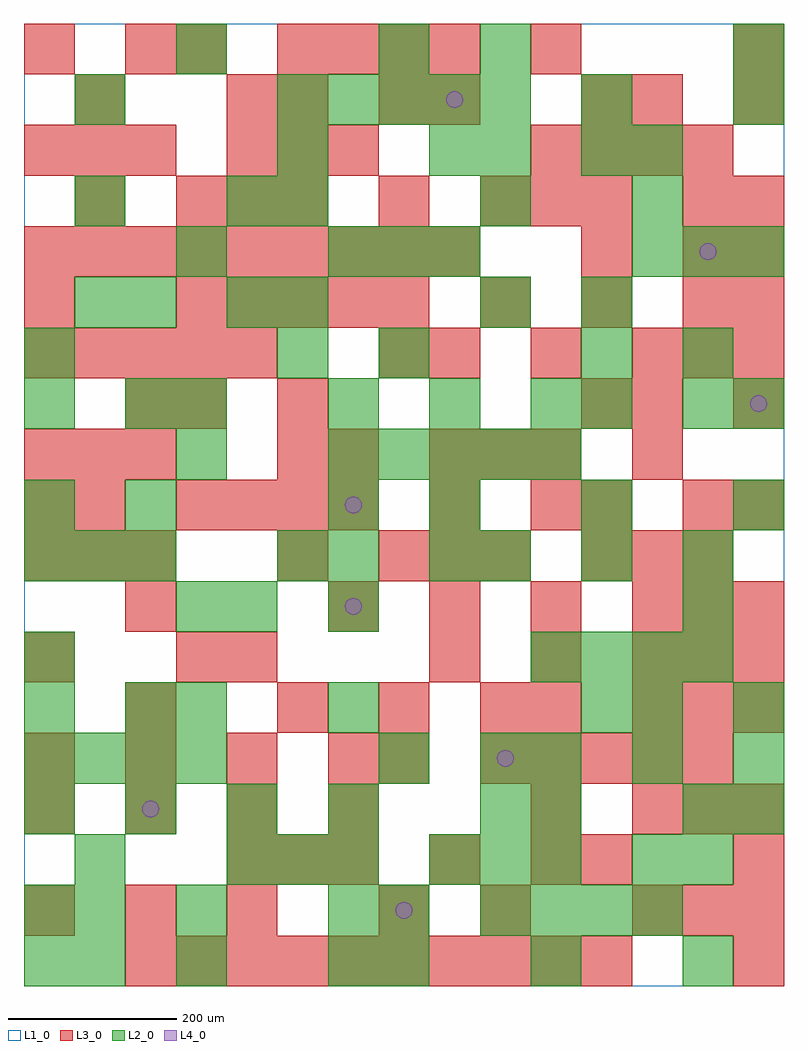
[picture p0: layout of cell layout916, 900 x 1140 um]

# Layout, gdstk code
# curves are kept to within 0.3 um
import gdstk
lib = gdstk.Library(unit=1e-6, precision=1e-09)
def R(c, l, rs):  # rectangles x0, y0, x1, y1
    for r in rs: c.add(gdstk.rectangle(r[:2], r[2:], *l))
def A(c, l, x, y, w, h, nx, ny, dx, dy):  # array of equal rectangles
    R(c, l, [(x+i*dx, y+j*dy, x+i*dx+w, y+j*dy+h) for i in range(nx) for j in range(ny)])
def P(c, l, *ps):  # polygons
    for p in ps: c.add(gdstk.Polygon(p, *l))
L1_0 = (1, 0)
L2_0 = (2, 0)
L3_0 = (3, 0)
L4_0 = (4, 0)

layout916 = lib.new_cell('layout916')
R(layout916, L1_0, [(0,0,900,1140)])
A(layout916, L2_0, 60, 0, 60, 60, 1, 3, 0, 60)
A(layout916, L2_0, 420, 0, 60, 60, 3, 1, 180, 0)
A(layout916, L2_0, 540, 60, 60, 60, 4, 1, 60, 0)
A(layout916, L2_0, 240, 120, 60, 60, 3, 1, 60, 0)
A(layout916, L2_0, 480, 120, 60, 60, 3, 1, 60, 0)
A(layout916, L2_0, 0, 180, 60, 60, 4, 1, 120, 0)
A(layout916, L2_0, 780, 180, 60, 60, 1, 3, 0, 240)
A(layout916, L2_0, 0, 240, 60, 60, 4, 1, 60, 0)
A(layout916, L2_0, 600, 240, 60, 60, 3, 1, 120, 0)
A(layout916, L2_0, 840, 300, 60, 60, 1, 3, 0, 360)
A(layout916, L2_0, 600, 360, 60, 60, 4, 1, 60, 0)
A(layout916, L2_0, 360, 420, 60, 60, 1, 3, 0, 60)
A(layout916, L2_0, 0, 480, 60, 60, 3, 1, 60, 0)
A(layout916, L2_0, 540, 480, 60, 60, 3, 1, 120, 0)
A(layout916, L2_0, 120, 540, 60, 60, 1, 3, 0, 120)
A(layout916, L2_0, 480, 540, 60, 60, 3, 1, 180, 0)
A(layout916, L2_0, 360, 600, 60, 60, 5, 1, 60, 0)
A(layout916, L2_0, 360, 660, 60, 60, 3, 1, 120, 0)
A(layout916, L2_0, 660, 660, 60, 60, 1, 3, 0, 60)
A(layout916, L2_0, 60, 780, 60, 60, 1, 3, 0, 120)
A(layout916, L2_0, 360, 840, 60, 60, 3, 1, 60, 0)
A(layout916, L2_0, 720, 840, 60, 60, 3, 1, 60, 0)
A(layout916, L2_0, 300, 1020, 60, 60, 5, 1, 60, 0)
R(layout916, L2_0, [(0,0,60,60), (180,0,240,60), (360,0,420,60), (0,60,60,120), (180,60,240,120), (360,60,420,120), (420,60,480,120), (720,120,780,180), (780,120,840,180), (540,180,600,240), (600,180,660,240), (840,180,900,240), (420,240,480,300), (540,240,600,300), (0,300,60,360), (120,300,180,360), (180,300,240,360), (360,300,420,360), (660,300,720,360), (720,300,780,360), (0,360,60,420), (180,420,240,480), (240,420,300,480), (300,480,360,540), (480,480,540,540), (0,540,60,600), (180,600,240,660), (0,660,60,720), (180,660,240,720), (0,720,60,780), (300,720,360,780), (420,720,480,780), (780,720,840,780), (240,780,300,840), (300,780,360,840), (540,780,600,840), (180,840,240,900), (240,900,300,960), (300,900,360,960), (540,900,600,960), (720,900,780,960), (300,960,360,1020), (480,960,540,1020), (540,960,600,1020), (660,960,720,1020), (720,960,780,1020), (660,1020,720,1080), (180,1080,240,1140), (420,1080,480,1140), (540,1080,600,1140), (840,1080,900,1140)])
A(layout916, L3_0, 120, 0, 60, 60, 10, 1, 60, 0)
A(layout916, L3_0, 0, 60, 60, 60, 3, 1, 120, 0)
A(layout916, L3_0, 720, 60, 60, 60, 3, 3, 60, 120)
A(layout916, L3_0, 240, 120, 60, 60, 3, 2, 60, 840)
A(layout916, L3_0, 0, 180, 60, 60, 4, 2, 120, 60)
A(layout916, L3_0, 540, 240, 60, 60, 5, 1, 60, 0)
A(layout916, L3_0, 300, 300, 60, 60, 3, 1, 120, 0)
A(layout916, L3_0, 480, 360, 60, 60, 3, 2, 120, 360)
A(layout916, L3_0, 360, 420, 60, 60, 4, 1, 120, 0)
A(layout916, L3_0, 840, 420, 60, 60, 1, 3, 0, 120)
A(layout916, L3_0, 0, 480, 60, 60, 3, 2, 60, 120)
A(layout916, L3_0, 420, 480, 60, 60, 3, 1, 60, 0)
A(layout916, L3_0, 660, 480, 60, 60, 3, 1, 60, 0)
A(layout916, L3_0, 180, 540, 60, 60, 4, 1, 60, 0)
A(layout916, L3_0, 480, 600, 60, 60, 3, 1, 60, 0)
A(layout916, L3_0, 660, 660, 60, 60, 1, 3, 0, 180)
A(layout916, L3_0, 0, 720, 60, 60, 5, 1, 60, 0)
A(layout916, L3_0, 840, 720, 60, 60, 1, 4, 0, 60)
A(layout916, L3_0, 180, 780, 60, 60, 5, 1, 60, 0)
A(layout916, L3_0, 540, 780, 60, 60, 3, 1, 120, 0)
A(layout916, L3_0, 0, 840, 60, 60, 9, 1, 60, 0)
A(layout916, L3_0, 180, 900, 60, 60, 3, 1, 60, 0)
A(layout916, L3_0, 540, 900, 60, 60, 3, 1, 60, 0)
A(layout916, L3_0, 0, 960, 60, 60, 3, 1, 60, 0)
A(layout916, L3_0, 600, 960, 60, 60, 4, 1, 60, 0)
A(layout916, L3_0, 300, 1080, 60, 60, 4, 1, 60, 0)
R(layout916, L3_0, [(840,0,900,60), (420,60,480,120), (540,60,600,120), (480,120,540,180), (600,120,660,180), (660,120,720,180), (840,120,900,180), (600,180,660,240), (420,240,480,300), (120,300,180,360), (600,300,660,360), (0,360,60,420), (180,360,240,420), (240,360,300,420), (780,360,840,420), (840,360,900,420), (120,420,180,480), (780,420,840,480), (300,480,360,540), (0,540,60,600), (60,540,120,600), (480,540,540,600), (600,540,660,600), (660,540,720,600), (780,540,840,600), (300,600,360,660), (360,600,420,660), (720,600,780,660), (120,660,180,720), (180,660,240,720), (300,660,360,720), (720,660,780,720), (420,720,480,780), (780,720,840,780), (0,780,60,840), (780,840,840,900), (60,900,120,960), (420,900,480,960), (780,900,840,960), (60,1020,120,1080), (240,1020,300,1080), (300,1020,360,1080), (420,1020,480,1080), (480,1020,540,1080), (720,1020,780,1080), (840,1020,900,1080), (0,1080,60,1140), (120,1080,180,1140), (180,1080,240,1140), (600,1080,660,1140), (840,1080,900,1140)])
P(layout916, L4_0, [(160,210),(159.239,213.827),(157.071,217.071),(153.827,219.239),(150,220),(146.173,219.239),(142.929,217.071),(140.761,213.827),(140,210),(140.761,206.173),(142.929,202.929),(146.173,200.761),(150,200),(153.827,200.761),(157.071,202.929),(159.239,206.173)],
  [(400,450),(399.239,453.827),(397.071,457.071),(393.827,459.239),(390,460),(386.173,459.239),(382.929,457.071),(380.761,453.827),(380,450),(380.761,446.173),(382.929,442.929),(386.173,440.761),(390,440),(393.827,440.761),(397.071,442.929),(399.239,446.173)],
  [(400,570),(399.239,573.827),(397.071,577.071),(393.827,579.239),(390,580),(386.173,579.239),(382.929,577.071),(380.761,573.827),(380,570),(380.761,566.173),(382.929,562.929),(386.173,560.761),(390,560),(393.827,560.761),(397.071,562.929),(399.239,566.173)],
  [(460,90),(459.239,93.827),(457.071,97.071),(453.827,99.239),(450,100),(446.173,99.239),(442.929,97.071),(440.761,93.827),(440,90),(440.761,86.173),(442.929,82.929),(446.173,80.761),(450,80),(453.827,80.761),(457.071,82.929),(459.239,86.173)],
  [(520,1050),(519.239,1053.827),(517.071,1057.071),(513.827,1059.239),(510,1060),(506.173,1059.239),(502.929,1057.071),(500.761,1053.827),(500,1050),(500.761,1046.173),(502.929,1042.929),(506.173,1040.761),(510,1040),(513.827,1040.761),(517.071,1042.929),(519.239,1046.173)],
  [(580,270),(579.239,273.827),(577.071,277.071),(573.827,279.239),(570,280),(566.173,279.239),(562.929,277.071),(560.761,273.827),(560,270),(560.761,266.173),(562.929,262.929),(566.173,260.761),(570,260),(573.827,260.761),(577.071,262.929),(579.239,266.173)],
  [(820,870),(819.239,873.827),(817.071,877.071),(813.827,879.239),(810,880),(806.173,879.239),(802.929,877.071),(800.761,873.827),(800,870),(800.761,866.173),(802.929,862.929),(806.173,860.761),(810,860),(813.827,860.761),(817.071,862.929),(819.239,866.173)],
  [(880,690),(879.239,693.827),(877.071,697.071),(873.827,699.239),(870,700),(866.173,699.239),(862.929,697.071),(860.761,693.827),(860,690),(860.761,686.173),(862.929,682.929),(866.173,680.761),(870,680),(873.827,680.761),(877.071,682.929),(879.239,686.173)])

lib.write_gds('layout916.gds')
